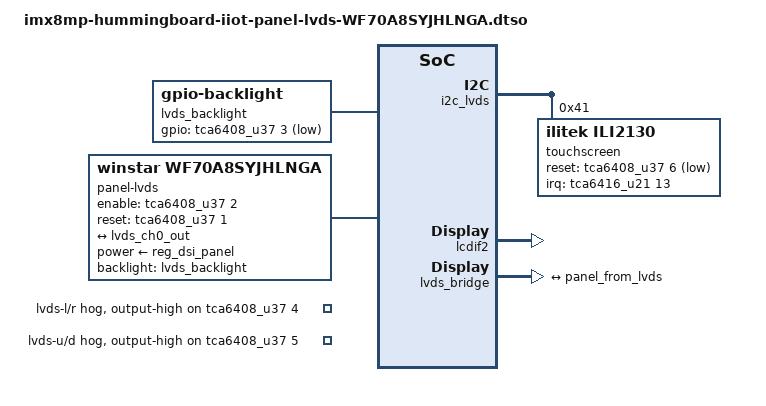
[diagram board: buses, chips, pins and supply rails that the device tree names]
// SPDX-License-Identifier: (GPL-2.0+ OR MIT)
/*
 * Copyright 2025 Josua Mayer <josua@solid-run.com>
 *
 * Overlay for enabling HummingBoard IIoT LVDS connector
 * with Winstar WF70A8SYJHLNGA panel.
 */

/dts-v1/;
/plugin/;

#include <dt-bindings/gpio/gpio.h>
#include <dt-bindings/interrupt-controller/irq.h>

&{/} {
	lvds_backlight: lvds-backlight {
		compatible = "gpio-backlight";
		gpios = <&tca6408_u37 3 GPIO_ACTIVE_LOW>;
	};

	panel-lvds {
		compatible = "winstar,wf70a8syjhlnga", "panel-lvds";
		backlight = <&lvds_backlight>;
		power-supply = <&reg_dsi_panel>;
		enable-gpios = <&tca6408_u37 2 GPIO_ACTIVE_HIGH>;
		reset-gpios = <&tca6408_u37 1 GPIO_ACTIVE_HIGH>;
		data-mapping = "vesa-24";
		width-mm = <154>;
		height-mm = <86>;

		panel-timing {
			/*
			 * Note: NXP BSP hard-codes 74MHz clock in ldb driver:
			 * drivers/gpu/drm/imx/imx8mp-ldb.c
			 * SolidRun BSP carries patch.
			 */
			clock-frequency = <49500000>;
			hactive = <1024>;
			vactive = <600>;
			hfront-porch = <40>;
			hback-porch = <144>;
			hsync-len = <104>;
			hsync-active = <0>;
			vfront-porch = <3>;
			vback-porch = <11>;
			vsync-len = <10>;
			vsync-active = <1>;
			de-active = <1>;
		};

		port {
			panel_from_lvds: endpoint {
				remote-endpoint = <&lvds_ch0_out>;
			};
		};
	};
};

&i2c_lvds {
	#address-cells = <1>;
	#size-cells = <0>;

	touchscreen@41 {
		compatible = "ilitek,ili2130";
		reg = <0x41>;
		reset-gpios = <&tca6408_u37 6 GPIO_ACTIVE_LOW>;
		interrupts-extended = <&tca6416_u21 13 IRQ_TYPE_LEVEL_LOW>;
	};
};

&lcdif2 {
	status = "okay";
};

&lvds_bridge {
	status = "okay";

	ports {
		#address-cells = <1>;
		#size-cells = <0>;
		status = "okay";

		port@1 {
			lvds_ch0_out: endpoint {
				remote-endpoint = <&panel_from_lvds>;
			};
		};
	};
};

&tca6408_u37 {
	lvds-lr-hog {
		gpio-hog;
		gpios = <4 GPIO_ACTIVE_HIGH>;
		output-high;
		line-name = "lvds-l/r";
	};

	lvds-ud-hog {
		gpio-hog;
		gpios = <5 GPIO_ACTIVE_HIGH>;
		output-high;
		line-name = "lvds-u/d";
	};
};
